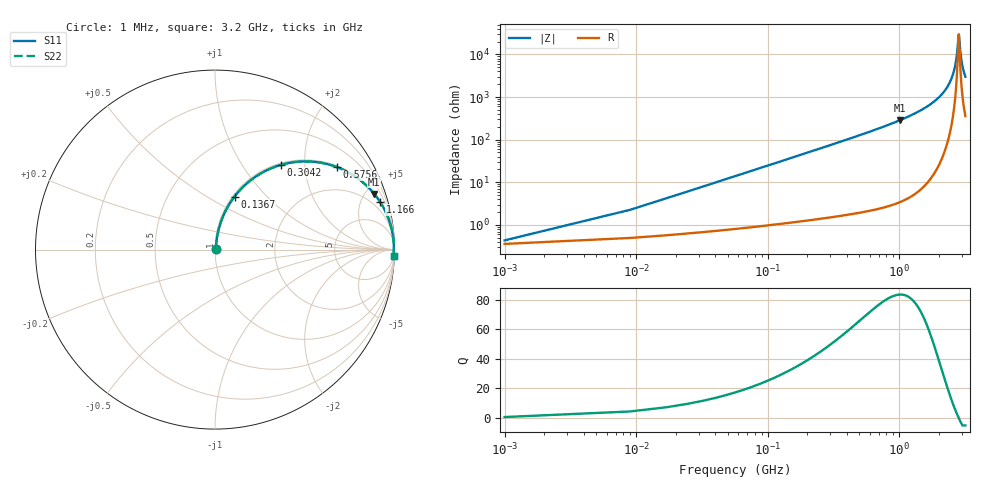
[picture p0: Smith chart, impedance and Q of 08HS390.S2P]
! Coilcraft 0805HS-390 Chip Inductor
! 13 June 2002
# MHZ S MA R 50
!Freq  MagS11  AngS11  MagS21  AngS21  MagS12  AngS12  MagS22  AngS22
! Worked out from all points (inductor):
!   402 points, 1 MHz to 3.2 GHz, reference 50 ohm
!   read as one part in series: L = 39 nH near 16.96 MHz
!   highest Q = 83.5 at 1.014 GHz (marker M1), where L = 44.7 nH
!   self-resonance near 2.842 GHz
!   S11 on the Smith chart (normalised r, x): 1 MHz: 1.01, +0.00; 136.7 MHz: 1.02, +0.67; 304.2 MHz: 1.03, +1.51; 575.6 MHz: 1.04, +2.94; 1.166 GHz: 1.08, +6.86; 3.2 GHz: 8, -59
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1  0.004324 34.2  0.9964 -0.1  0.9964 -0.1  0.004324 34.2
24.94  0.06095 80.6  0.9919 -3.5  0.9919 -3.5  0.06095 80.6
40.9  0.09929 80.2  0.9879 -5.7  0.9879 -5.7  0.09929 80.2
80.8  0.1929 76.3  0.9725 -11.1  0.9725 -11.1  0.1929 76.3
136.66  0.3153 69.8  0.9388 -18.4  0.9388 -18.4  0.3153 69.8
304.24  0.5965 52.2  0.7908 -36.6  0.7908 -36.6  0.5965 52.2
535.66  0.8002 36.0  0.588 -53.1  0.588 -53.1  0.8002 36.0
575.56  0.8215 34.0  0.5587 -55.2  0.5587 -55.2  0.8215 34.0
1014.46  0.94 19.3  0.3302 -70.0  0.3302 -70.0  0.94 19.3
1070.32  0.947 18.1  0.3101 -71.2  0.3101 -71.2  0.947 18.1
1166.08  0.957 16.2  0.2788 -73.1  0.2788 -73.1  0.957 16.2
1604.98  0.9827 9.8  0.1706 -79.3  0.1706 -79.3  0.9827 9.8
2139.64  0.9939 4.7  0.08273 -83.4  0.08273 -83.4  0.9939 4.7
2466.82  0.9962 2.4  0.04141 -83.6  0.04141 -83.6  0.9962 2.4
2674.3  0.9967 1.0  0.01842 -79.1  0.01842 -79.1  0.9967 1.0
2754.1  0.9967 0.6  0.01028 -70.9  0.01028 -70.9  0.9967 0.6
2825.92  0.9966 0.1  0.004133 -35.3  0.004133 -35.3  0.9966 0.1
2849.86  0.9966 -0.0  0.003401 0.1  0.003401 0.1  0.9966 -0.0
2937.64  0.9964 -0.5  0.009355 67.3  0.009355 67.3  0.9964 -0.5
2993.5  0.9963 -0.8  0.0145 74.7  0.0145 74.7  0.9963 -0.8
3089.26  0.996 -1.3  0.02334 79.4  0.02334 79.4  0.996 -1.3
3200  0.9955 -1.9  0.03334 81.3  0.03334 81.3  0.9955 -1.9
